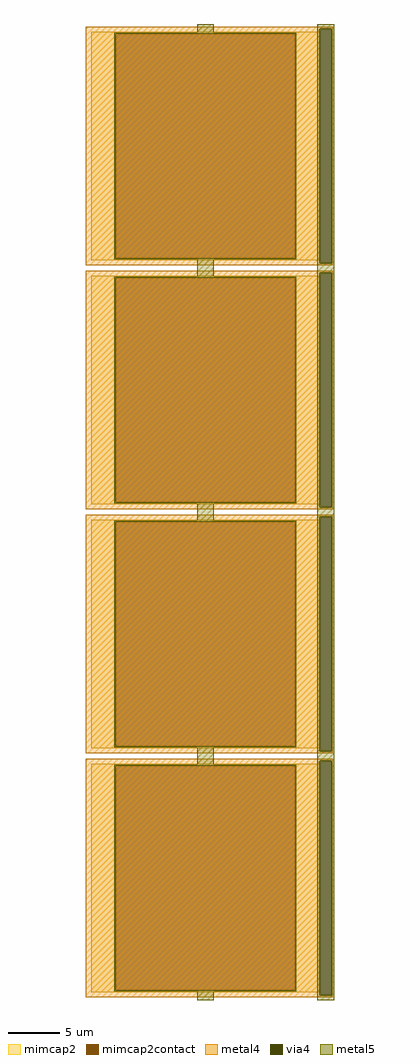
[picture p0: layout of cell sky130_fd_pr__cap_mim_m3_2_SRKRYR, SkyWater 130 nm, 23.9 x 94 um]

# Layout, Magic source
magic
tech sky130A
magscale 1 2
<< metal4 >>
rect -2379 9309 2379 9350
rect -2379 4791 2123 9309
rect 2359 4791 2379 9309
rect -2379 4750 2379 4791
rect -2379 4609 2379 4650
rect -2379 91 2123 4609
rect 2359 91 2379 4609
rect -2379 50 2379 91
rect -2379 -91 2379 -50
rect -2379 -4609 2123 -91
rect 2359 -4609 2379 -91
rect -2379 -4650 2379 -4609
rect -2379 -4791 2379 -4750
rect -2379 -9309 2123 -4791
rect 2359 -9309 2379 -4791
rect -2379 -9350 2379 -9309
<< via4 >>
rect 2123 4791 2359 9309
rect 2123 91 2359 4609
rect 2123 -4609 2359 -91
rect 2123 -9309 2359 -4791
<< mimcap2 >>
rect -2279 9210 2121 9250
rect -2279 4890 -1807 9210
rect 1649 4890 2121 9210
rect -2279 4850 2121 4890
rect -2279 4510 2121 4550
rect -2279 190 -1807 4510
rect 1649 190 2121 4510
rect -2279 150 2121 190
rect -2279 -190 2121 -150
rect -2279 -4510 -1807 -190
rect 1649 -4510 2121 -190
rect -2279 -4550 2121 -4510
rect -2279 -4890 2121 -4850
rect -2279 -9210 -1807 -4890
rect 1649 -9210 2121 -4890
rect -2279 -9250 2121 -9210
<< mimcap2contact >>
rect -1807 4890 1649 9210
rect -1807 190 1649 4510
rect -1807 -4510 1649 -190
rect -1807 -9210 1649 -4890
<< metal5 >>
rect -239 9234 81 9400
rect 2081 9309 2401 9400
rect -1831 9210 1673 9234
rect -1831 4890 -1807 9210
rect 1649 4890 1673 9210
rect -1831 4866 1673 4890
rect -239 4534 81 4866
rect 2081 4791 2123 9309
rect 2359 4791 2401 9309
rect 2081 4609 2401 4791
rect -1831 4510 1673 4534
rect -1831 190 -1807 4510
rect 1649 190 1673 4510
rect -1831 166 1673 190
rect -239 -166 81 166
rect 2081 91 2123 4609
rect 2359 91 2401 4609
rect 2081 -91 2401 91
rect -1831 -190 1673 -166
rect -1831 -4510 -1807 -190
rect 1649 -4510 1673 -190
rect -1831 -4534 1673 -4510
rect -239 -4866 81 -4534
rect 2081 -4609 2123 -91
rect 2359 -4609 2401 -91
rect 2081 -4791 2401 -4609
rect -1831 -4890 1673 -4866
rect -1831 -9210 -1807 -4890
rect 1649 -9210 1673 -4890
rect -1831 -9234 1673 -9210
rect -239 -9400 81 -9234
rect 2081 -9309 2123 -4791
rect 2359 -9309 2401 -4791
rect 2081 -9400 2401 -9309
<< properties >>
string FIXED_BBOX -2379 4750 2221 9350
string gencell sky130_fd_pr__cap_mim_m3_2
string library sky130
string parameters w 22 l 22 val 984.72 carea 2.00 cperi 0.19 nx 1 ny 4 dummy 0 square 0 lmin 2.00 wmin 2.00 lmax 30.0 wmax 30.0 dc 0 bconnect 1 tconnect 1 ccov 80
<< end >>
